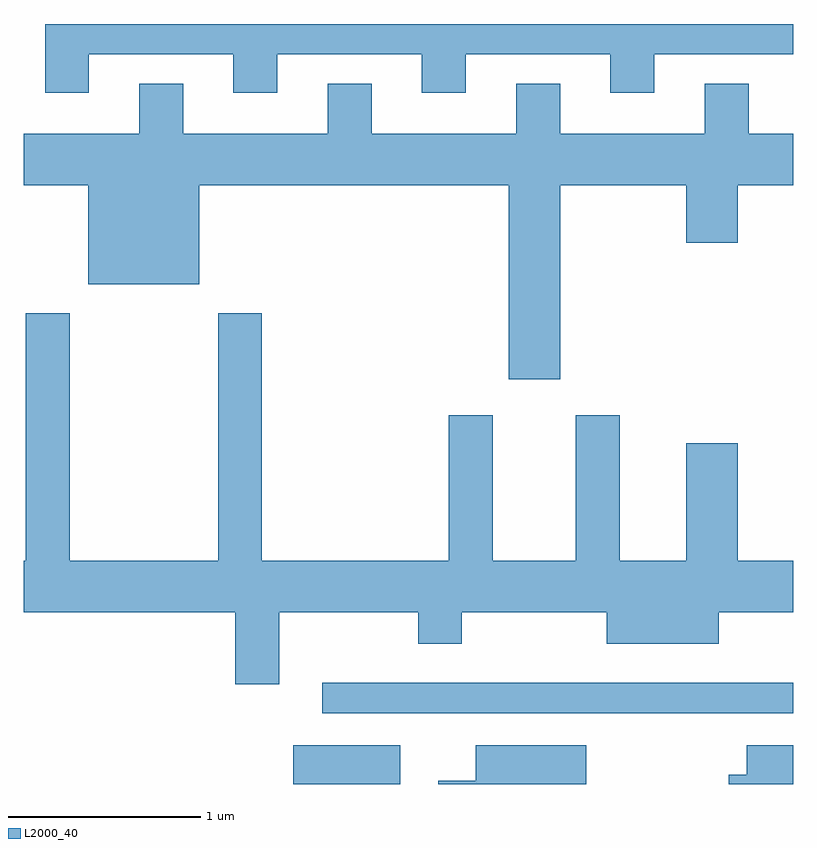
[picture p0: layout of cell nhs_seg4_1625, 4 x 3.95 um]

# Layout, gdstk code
import gdstk
lib = gdstk.Library(unit=1e-6, precision=1e-09)
def R(c, l, rs):  # rectangles x0, y0, x1, y1
    for r in rs: c.add(gdstk.rectangle(r[:2], r[2:], *l))
def P(c, l, *ps):  # polygons
    for p in ps: c.add(gdstk.Polygon(p, *l))
L2000_40 = (2000, 40)

nhs_seg4_1625 = lib.new_cell('nhs_seg4_1625')
R(nhs_seg4_1625, L2000_40, [(233.011,1375.982,233.569,1376.184), (233.163,1376.351,235.611,1376.509)])
P(nhs_seg4_1625, L2000_40, [(231.949,1379.776),(232.701,1379.776),(232.701,1379.576),(232.929,1379.576),(232.929,1379.776),(233.681,1379.776),(233.681,1379.576),(233.909,1379.576),(233.909,1379.776),(234.661,1379.776),(234.661,1379.576),(234.889,1379.576),(234.889,1379.776),(235.611,1379.776),(235.611,1379.934),(231.721,1379.934),(231.721,1379.576),(231.949,1379.576)],
  [(234.399,1379.096),(235.056,1379.096),(235.056,1378.796),(235.324,1378.796),(235.324,1379.096),(235.611,1379.096),(235.611,1379.364),(235.379,1379.364),(235.379,1379.624),(235.151,1379.624),(235.151,1379.364),(234.399,1379.364),(234.399,1379.624),(234.171,1379.624),(234.171,1379.364),(233.419,1379.364),(233.419,1379.624),(233.191,1379.624),(233.191,1379.364),(232.439,1379.364),(232.439,1379.624),(232.211,1379.624),(232.211,1379.364),(231.611,1379.364),(231.611,1379.096),(231.946,1379.096),(231.946,1378.581),(232.524,1378.581),(232.524,1379.096),(234.131,1379.096),(234.131,1378.086),(234.399,1378.086)],
  [(232.939,1376.876),(233.661,1376.876),(233.661,1376.711),(233.889,1376.711),(233.889,1376.876),(234.641,1376.876),(234.641,1376.711),(235.224,1376.711),(235.224,1376.876),(235.611,1376.876),(235.611,1377.144),(235.324,1377.144),(235.324,1377.754),(235.056,1377.754),(235.056,1377.144),(234.709,1377.144),(234.709,1377.899),(234.481,1377.899),(234.481,1377.144),(234.049,1377.144),(234.049,1377.899),(233.821,1377.899),(233.821,1377.144),(232.849,1377.144),(232.849,1378.429),(232.621,1378.429),(232.621,1377.144),(231.849,1377.144),(231.849,1378.429),(231.621,1378.429),(231.621,1377.144),(231.611,1377.144),(231.611,1376.876),(232.711,1376.876),(232.711,1376.501),(232.939,1376.501)],
  [(234.534,1376.184),(233.961,1376.184),(233.961,1375.999),(233.766,1375.999),(233.766,1375.982),(234.534,1375.982)],
  [(235.611,1376.184),(235.371,1376.184),(235.371,1376.029),(235.276,1376.029),(235.276,1375.982),(235.611,1375.982)])

lib.write_gds('nhs_seg4_1625.gds')
